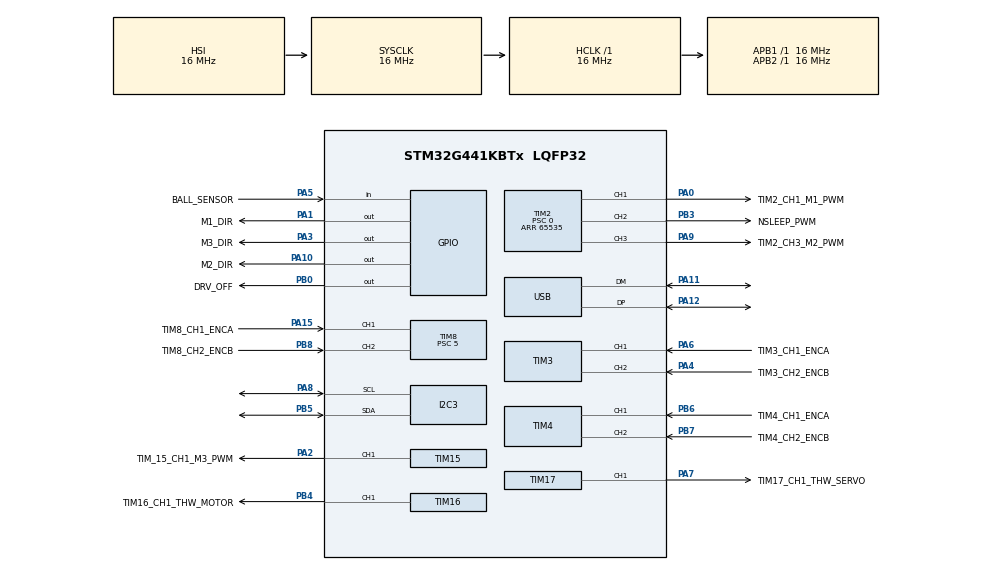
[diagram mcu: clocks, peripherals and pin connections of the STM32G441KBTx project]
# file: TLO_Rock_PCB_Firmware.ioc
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Mcu.Family=STM32G4
Mcu.Name=STM32G441KBTx
Mcu.Package=LQFP32
NVIC.PriorityGroup=NVIC_PRIORITYGROUP_4
NVIC.TIM6_DAC_IRQn=true\:0\:0\:false\:false\:true\:true\:true
NVIC.USB_LP_IRQn=true\:0\:0\:false\:false\:true\:false\:true
PA0.GPIO_Label=TIM2_CH1_M1_PWM
PA0.Signal=S_TIM2_CH1
PA1.GPIO_Label=M1_DIR
PA1.Signal=GPIO_Output
PA10.GPIO_Label=M2_DIR
PA10.Signal=GPIO_Output
PA11.Mode=Device
PA11.Signal=USB_DM
PA12.Mode=Device
PA12.Signal=USB_DP
PA13.Mode=Serial_Wire
PA13.Signal=SYS_JTMS-SWDIO
PA14.Mode=Serial_Wire
PA14.Signal=SYS_JTCK-SWCLK
PA15.GPIO_Label=TIM8_CH1_ENCA
PA15.Signal=S_TIM8_CH1
PA2.GPIO_Label=TIM_15_CH1_M3_PWM
PA2.Signal=S_TIM15_CH1
PA3.GPIO_Label=M3_DIR
PA3.Signal=GPIO_Output
PA4.GPIO_Label=TIM3_CH2_ENCB
PA4.Signal=S_TIM3_CH2
PA5.GPIO_Label=BALL_SENSOR
PA5.Signal=GPIO_Input
PA6.GPIO_Label=TIM3_CH1_ENCA
PA6.Signal=S_TIM3_CH1
PA7.GPIO_Label=TIM17_CH1_THW_SERVO
PA7.Signal=S_TIM17_CH1
PA8.Mode=I2C
PA8.Signal=I2C3_SCL
PA9.GPIO_Label=TIM2_CH3_M2_PWM
PA9.Signal=S_TIM2_CH3
PB0.GPIO_Label=DRV_OFF
PB0.Signal=GPIO_Output
PB3.GPIO_Label=NSLEEP_PWM
PB3.Signal=S_TIM2_CH2
PB4.GPIO_Label=TIM16_CH1_THW_MOTOR
PB4.Signal=S_TIM16_CH1
PB5.Mode=I2C
PB5.Signal=I2C3_SDA
PB6.GPIO_Label=TIM4_CH1_ENCA
PB6.Signal=S_TIM4_CH1
PB7.GPIO_Label=TIM4_CH2_ENCB
PB7.Signal=S_TIM4_CH2
PB8-BOOT0.GPIO_Label=TIM8_CH2_ENCB
PB8-BOOT0.Signal=S_TIM8_CH2
ProjectManager.HeapSize=0x200
ProjectManager.StackSize=0x400
ProjectManager.TargetToolchain=STM32CubeIDE
RCC.ADC12Freq_Value=16000000
RCC.AHBFreq_Value=16000000
RCC.APB1Freq_Value=16000000
RCC.APB1TimFreq_Value=16000000
RCC.APB2Freq_Value=16000000
RCC.APB2TimFreq_Value=16000000
RCC.CortexFreq_Value=16000000
RCC.EXTERNAL_CLOCK_VALUE=12288000
RCC.HCLKFreq_Value=16000000
RCC.HSE_VALUE=8000000
RCC.HSI48_VALUE=48000000
RCC.HSI_VALUE=16000000
RCC.LSE_VALUE=32768
RCC.PLLN=12
RCC.PLLQ=RCC_PLLQ_DIV4
RCC.SYSCLKFreq_VALUE=16000000
RCC.USBFreq_Value=48000000
RCC.VCOOutputFreq_Value=192000000
SH.S_TIM15_CH1.0=TIM15_CH1,PWM Generation1 CH1
SH.S_TIM16_CH1.0=TIM16_CH1,PWM Generation1 CH1
SH.S_TIM17_CH1.0=TIM17_CH1,PWM Generation1 CH1
SH.S_TIM2_CH1.0=TIM2_CH1,PWM Generation1 CH1
SH.S_TIM2_CH2.0=TIM2_CH2,PWM Generation2 CH2
SH.S_TIM2_CH3.0=TIM2_CH3,PWM Generation3 CH3
SH.S_TIM3_CH1.0=TIM3_CH1,Encoder_Interface
SH.S_TIM3_CH2.0=TIM3_CH2,Encoder_Interface
SH.S_TIM4_CH1.0=TIM4_CH1,Encoder_Interface
SH.S_TIM4_CH2.0=TIM4_CH2,Encoder_Interface
SH.S_TIM8_CH1.0=TIM8_CH1,Encoder_Interface
SH.S_TIM8_CH2.0=TIM8_CH2,Encoder_Interface
TIM1.Channel-PWM\ Generation5\ No\ Output=TIM_CHANNEL_5
TIM15.Channel-PWM\ Generation1\ CH1=TIM_CHANNEL_1
TIM15.PulseNoDither_1=31250
TIM16.Channel=TIM_CHANNEL_1
TIM16.PeriodNoDither=64000
TIM16.Prescaler=4
TIM16.PulseNoDither_1=1
TIM17.Channel=TIM_CHANNEL_1
TIM17.PeriodNoDither=64000
TIM17.Prescaler=4
TIM2.Channel-PWM\ Generation1\ CH1=TIM_CHANNEL_1
TIM2.Channel-PWM\ Generation2\ CH2=TIM_CHANNEL_2
TIM2.Channel-PWM\ Generation3\ CH3=TIM_CHANNEL_3
TIM2.PeriodNoDither=65535
TIM2.Prescaler=0
TIM2.PulseNoDither_1=31250
TIM2.PulseNoDither_2=31250
TIM2.PulseNoDither_3=31250
TIM6.PeriodNoDither=40000
TIM6.Prescaler=4
TIM8.PeriodNoDither=64000
TIM8.Prescaler=5
USB.Sof_enable=DISABLE
USB_DEVICE.CLASS_NAME_FS=CDC
USB_DEVICE.VirtualMode=Cdc
USB_DEVICE.VirtualModeFS=Cdc_FS
VP_SYS_VS_DBSignals.Mode=DisableDeadBatterySignals
VP_TIM15_VS_ClockSourceINT.Mode=Internal
VP_TIM16_VS_ClockSourceINT.Mode=Enable_Timer
VP_TIM17_VS_ClockSourceINT.Mode=Enable_Timer
VP_TIM1_VS_no_output5.Mode=PWM Generation5 No Output
VP_TIM2_VS_ClockSourceINT.Mode=Internal
VP_TIM6_VS_ClockSourceINT.Mode=Enable_Timer
VP_USB_DEVICE_VS_USB_DEVICE_CDC_FS.Mode=CDC_FS
board=custom

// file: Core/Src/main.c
/* USER CODE BEGIN Header */
/**
  ******************************************************************************
  * @file           : main.c
  * @brief          : Main program body
  ******************************************************************************
  * @attention
  *
  * Copyright (c) 2022 STMicroelectronics.
  * All rights reserved.
  *
  * This software is licensed under terms that can be found in the LICENSE file
  * in the root directory of this software component.
  * If no LICENSE file comes with this software, it is provided AS-IS.
  *
  ******************************************************************************
  */
/* USER CODE END Header */
#include "main.h"
#include "usb_device.h"
#include "usbd_cdc_if.h"

I2C_HandleTypeDef hi2c3;

TIM_HandleTypeDef htim1;
TIM_HandleTypeDef htim2;
TIM_HandleTypeDef htim3;
TIM_HandleTypeDef htim4;
TIM_HandleTypeDef htim6;
TIM_HandleTypeDef htim8;
TIM_HandleTypeDef htim15;
TIM_HandleTypeDef htim16;
TIM_HandleTypeDef htim17;

/* USER CODE BEGIN PV */
int32_t Lpos_M1 = 0;
int32_t Lpos_M2 = 0;
int32_t Lpos_M3 = 0;

int32_t tgt_M1 = 0;
int32_t tgt_M2 = 0;
int32_t tgt_M3 = 0;

int32_t integral_M1 = 0;
int32_t integral_M2 = 0;
int32_t integral_M3 = 0;

int32_t last_err_M1 = 0;
int32_t last_err_M2 = 0;
int32_t last_err_M3 = 0;

uint32_t thrower_speed = 0;
uint8_t grabber_on = 0;
uint8_t thrower = 0;
uint8_t safety_iters = 0;

int16_t return_M1 = 0;
int16_t return_M2 = 0;
int16_t return_M3 = 0;

/* USER CODE END PV */

void SystemClock_Config(void);
static void MX_GPIO_Init(void);
static void MX_I2C3_Init(void);
static void MX_TIM2_Init(void);
static void MX_TIM3_Init(void);
static void MX_TIM4_Init(void);
static void MX_TIM8_Init(void);
static void MX_TIM15_Init(void);
static void MX_TIM16_Init(void);
static void MX_TIM17_Init(void);
static void MX_TIM1_Init(void);
static void MX_TIM6_Init(void);

/* USER CODE BEGIN 0 */

typedef struct Command {
	int16_t speed1;
	int16_t speed2;
	int16_t speed3;
	uint32_t thrower_speed;
	uint8_t bools;
	uint32_t delimiter;
}Command;

typedef struct Feedback {
	int16_t speed1;
	int16_t speed2;
	int16_t speed3;
	uint8_t bools;
	uint32_t deliminer;
}Feedback;

Command command = {.speed1 = 0, .speed2 = 0, .speed3 = 0, .thrower_speed = 0, .bools = 0, .delimiter = 0xAAAA};
Feedback feedback = {.speed1 = 0, .speed2 = 0, .speed3 = 0, .bools = 0, .deliminer = 0xAAAA};

volatile uint8_t isCommandReceived = 0;

void CDC_On_Receive(uint8_t* buffer, uint32_t* length) //uint8_t* Buf, uint32_t* Len
{
	if (*length == sizeof(Command)){
		memcpy(&command, buffer, sizeof(Command));
	}
	if (command.delimiter == 0xAAAA){
		isCommandReceived = 1;
	}

	//feedback.speed1 = return_M1;
			  //feedback.speed2 = return_M2;
			  //feedback.speed3 = return_M3;
			  //feedback.bools = n;
			  //feedback.deliminer = 0xAAAA;

	CDC_Transmit_FS(&feedback, sizeof(feedback)); //uint8_t CDC_Transmit_FS(uint8_t* Buf, uint16_t Len)
}

void throw(uint32_t speed)
{
	if (speed > 7500) speed = 7500;
	if (speed < 2500) speed = 2500;
	TIM16->CCR1 = speed;
	HAL_Delay(400);
	TIM17->CCR1 = 1000;
	int n = 1;
	while (n)
	{
		n = HAL_GPIO_ReadPin(BALL_SENSOR_GPIO_Port, BALL_SENSOR_Pin);
		HAL_Delay(200);
	}
	TIM17->CCR1 = 0;
	TIM16->CCR1 = 2500;
}

/* USER CODE END 0 */

int main(void)
{

  /* MCU Configuration--------------------------------------------------------*/

  /* Reset of all peripherals, Initializes the Flash interface and the Systick. */
  HAL_Init();

  /* Configure the system clock */
  SystemClock_Config();

  /* Initialize all configured peripherals */
  MX_GPIO_Init();
  MX_I2C3_Init();
  MX_TIM2_Init();
  MX_TIM3_Init();
  MX_TIM4_Init();
  MX_TIM8_Init();
  MX_TIM15_Init();
  MX_TIM16_Init();
  MX_TIM17_Init();
  MX_TIM1_Init();
  MX_TIM6_Init();
  MX_USB_Device_Init();
  /* USER CODE BEGIN 2 */
  // set motors off
  HAL_GPIO_WritePin(DRV_OFF_GPIO_Port, DRV_OFF_Pin, 1);

  // toggle nsleep for aprox 27us
  TIM2->CCR2 = 65100;
  HAL_TIM_PWM_Start(&htim2, TIM_CHANNEL_2);
  // set nsleep to high
  HAL_Delay(100);
  TIM2->CCR2 = 65536;

  //motor speeds to zero
  TIM2->CCR1 = 0;
  TIM15->CCR1 = 0;
  TIM2->CCR3 = 0;

  //begin motor pwm
  HAL_TIM_PWM_Start(&htim2, TIM_CHANNEL_1);
  HAL_TIM_PWM_Start(&htim2, TIM_CHANNEL_3);
  HAL_TIM_PWM_Start(&htim15, TIM_CHANNEL_1);

  //enable thrower and arm it while setting its speed to 0
  HAL_TIM_PWM_Start(&htim16, TIM_CHANNEL_1);
  TIM16->CCR1 = 2500;
  HAL_Delay(4000);

  //enable grabber and set its speed to zero
  TIM17->CCR1 = 0;
  HAL_TIM_PWM_Start(&htim17, TIM_CHANNEL_1);

  //start encoders
  HAL_TIM_Encoder_Start(&htim3, TIM_CHANNEL_1 | TIM_CHANNEL_2);
  HAL_TIM_Encoder_Start(&htim4, TIM_CHANNEL_1 | TIM_CHANNEL_2);
  HAL_TIM_Encoder_Start(&htim8, TIM_CHANNEL_1 | TIM_CHANNEL_2);

  HAL_TIM_Base_Start_IT(&htim6);

/*

  // thrower
  HAL_TIM_PWM_Start(&htim17, TIM_CHANNEL_1);

  HAL_GPIO_TogglePin(DRV_OFF_GPIO_Port, DRV_OFF_Pin);
  HAL_Delay(10);
  //HAL_GPIO_TogglePin(DRV_OFF_GPIO_Port, DRV_OFF_Pin);
  HAL_Delay(10);
  HAL_GPIO_TogglePin(M1_DIR_GPIO_Port, M2_DIR_Pin);

  HAL_TIM_Encoder_Start(&htim3, TIM_CHANNEL_1 | TIM_CHANNEL_2);
  HAL_TIM_Encoder_Start(&htim4, TIM_CHANNEL_1 | TIM_CHANNEL_2);
  HAL_TIM_Encoder_Start(&htim8, TIM_CHANNEL_1 | TIM_CHANNEL_2);

  TIM17->CCR1 = 0; // set grabber to stop
  //TIM16->CCR1 = 4000; // set thrower to stop (4000)
  HAL_Delay(2000);
  */
  /* USER CODE END 2 */

  /* Infinite loop */
  /* USER CODE BEGIN WHILE */

  while (1)
  {

	  uint8_t n = HAL_GPIO_ReadPin(BALL_SENSOR_GPIO_Port, BALL_SENSOR_Pin);

	  if (isCommandReceived){
		  tgt_M1 = command.speed1;
		  tgt_M2 = command.speed2;
		  tgt_M3 = command.speed3;
		  thrower_speed = command.thrower_speed;
		  uint8_t bools = command.bools;

		  if (bools >= 2)
		  {
		  	  bools -= 2;
		  	  grabber_on = 1;
		  }

		  else
		  {
			  grabber_on = 0;
		  }

		  if (bools >= 1)
		  {
			  bools -= 1;
			  thrower = 1;
		  }

		  HAL_GPIO_WritePin(DRV_OFF_GPIO_Port, DRV_OFF_Pin, 0);

	  }

	  if (grabber_on){

		  if (n) TIM17->CCR1 = 0;
		  else TIM17->CCR1 = 1000;

	  }

	  else TIM17->CCR1 = 0;

	  if(thrower && n){
		  throw(thrower_speed);
	  }
	  else thrower = 0;

	  if (safety_iters > 100){
		  HAL_GPIO_WritePin(DRV_OFF_GPIO_Port, DRV_OFF_Pin, 1);
		  tgt_M1 = 0;
		  tgt_M2 = 0;
		  tgt_M3 = 0;
	  }

  }
    /* USER CODE END WHILE */

}

void SystemClock_Config(void)
{
  RCC_OscInitTypeDef RCC_OscInitStruct = {0};
  RCC_ClkInitTypeDef RCC_ClkInitStruct = {0};

  /** Configure the main internal regulator output voltage
  */
  HAL_PWREx_ControlVoltageScaling(PWR_REGULATOR_VOLTAGE_SCALE1);
  /** Initializes the RCC Oscillators according to the specified parameters
  * in the RCC_OscInitTypeDef structure.
  */
  RCC_OscInitStruct.OscillatorType = RCC_OSCILLATORTYPE_HSI;
  RCC_OscInitStruct.HSIState = RCC_HSI_ON;
  RCC_OscInitStruct.HSICalibrationValue = RCC_HSICALIBRATION_DEFAULT;
  RCC_OscInitStruct.PLL.PLLState = RCC_PLL_ON;
  RCC_OscInitStruct.PLL.PLLSource = RCC_PLLSOURCE_HSI;
  RCC_OscInitStruct.PLL.PLLM = RCC_PLLM_DIV1;
  RCC_OscInitStruct.PLL.PLLN = 12;
  RCC_OscInitStruct.PLL.PLLP = RCC_PLLP_DIV2;
  RCC_OscInitStruct.PLL.PLLQ = RCC_PLLQ_DIV4;
  RCC_OscInitStruct.PLL.PLLR = RCC_PLLR_DIV2;
  if (HAL_RCC_OscConfig(&RCC_OscInitStruct) != HAL_OK)
  {
    Error_Handler();
  }
  /** Initializes the CPU, AHB and APB buses clocks
  */
  RCC_ClkInitStruct.ClockType = RCC_CLOCKTYPE_HCLK|RCC_CLOCKTYPE_SYSCLK
                              |RCC_CLOCKTYPE_PCLK1|RCC_CLOCKTYPE_PCLK2;
  RCC_ClkInitStruct.SYSCLKSource = RCC_SYSCLKSOURCE_HSI;
  RCC_ClkInitStruct.AHBCLKDivider = RCC_SYSCLK_DIV1;
  RCC_ClkInitStruct.APB1CLKDivider = RCC_HCLK_DIV1;
  RCC_ClkInitStruct.APB2CLKDivider = RCC_HCLK_DIV1;

  if (HAL_RCC_ClockConfig(&RCC_ClkInitStruct, FLASH_LATENCY_0) != HAL_OK)
  {
    Error_Handler();
  }
}

static void MX_I2C3_Init(void)
{

  hi2c3.Instance = I2C3;
  hi2c3.Init.Timing = 0x00303D5B;
  hi2c3.Init.OwnAddress1 = 0;
  hi2c3.Init.AddressingMode = I2C_ADDRESSINGMODE_7BIT;
  hi2c3.Init.DualAddressMode = I2C_DUALADDRESS_DISABLE;
  hi2c3.Init.OwnAddress2 = 0;
  hi2c3.Init.OwnAddress2Masks = I2C_OA2_NOMASK;
  hi2c3.Init.GeneralCallMode = I2C_GENERALCALL_DISABLE;
  hi2c3.Init.NoStretchMode = I2C_NOSTRETCH_DISABLE;
  if (HAL_I2C_Init(&hi2c3) != HAL_OK)
  {
    Error_Handler();
  }
  /** Configure Analogue filter
  */
  if (HAL_I2CEx_ConfigAnalogFilter(&hi2c3, I2C_ANALOGFILTER_ENABLE) != HAL_OK)
  {
    Error_Handler();
  }
  /** Configure Digital filter
  */
  if (HAL_I2CEx_ConfigDigitalFilter(&hi2c3, 0) != HAL_OK)
  {
    Error_Handler();
  }

}

static void MX_TIM1_Init(void)
{

  TIM_MasterConfigTypeDef sMasterConfig = {0};
  TIM_OC_InitTypeDef sConfigOC = {0};
  TIM_BreakDeadTimeConfigTypeDef sBreakDeadTimeConfig = {0};

  htim1.Instance = TIM1;
  htim1.Init.Prescaler = 0;
  htim1.Init.CounterMode = TIM_COUNTERMODE_UP;
  htim1.Init.Period = 65535;
  htim1.Init.ClockDivision = TIM_CLOCKDIVISION_DIV1;
  htim1.Init.RepetitionCounter = 0;
  htim1.Init.AutoReloadPreload = TIM_AUTORELOAD_PRELOAD_DISABLE;
  if (HAL_TIM_PWM_Init(&htim1) != HAL_OK)
  {
    Error_Handler();
  }
  sMasterConfig.MasterOutputTrigger = TIM_TRGO_RESET;
  sMasterConfig.MasterOutputTrigger2 = TIM_TRGO2_RESET;
  sMasterConfig.MasterSlaveMode = TIM_MASTERSLAVEMODE_DISABLE;
  if (HAL_TIMEx_MasterConfigSynchronization(&htim1, &sMasterConfig) != HAL_OK)
  {
    Error_Handler();
  }
  sConfigOC.OCMode = TIM_OCMODE_PWM1;
  sConfigOC.Pulse = 0;
  sConfigOC.OCPolarity = TIM_OCPOLARITY_HIGH;
  sConfigOC.OCFastMode = TIM_OCFAST_DISABLE;
  sConfigOC.OCIdleState = TIM_OCIDLESTATE_RESET;
  if (HAL_TIM_PWM_ConfigChannel(&htim1, &sConfigOC, TIM_CHANNEL_5) != HAL_OK)
  {
    Error_Handler();
  }
  sBreakDeadTimeConfig.OffStateRunMode = TIM_OSSR_DISABLE;
  sBreakDeadTimeConfig.OffStateIDLEMode = TIM_OSSI_DISABLE;
  sBreakDeadTimeConfig.LockLevel = TIM_LOCKLEVEL_OFF;
  sBreakDeadTimeConfig.DeadTime = 0;
  sBreakDeadTimeConfig.BreakState = TIM_BREAK_DISABLE;
  sBreakDeadTimeConfig.BreakPolarity = TIM_BREAKPOLARITY_HIGH;
  sBreakDeadTimeConfig.BreakFilter = 0;
  sBreakDeadTimeConfig.BreakAFMode = TIM_BREAK_AFMODE_INPUT;
  sBreakDeadTimeConfig.Break2State = TIM_BREAK2_DISABLE;
  sBreakDeadTimeConfig.Break2Polarity = TIM_BREAK2POLARITY_HIGH;
  sBreakDeadTimeConfig.Break2Filter = 0;
  sBreakDeadTimeConfig.Break2AFMode = TIM_BREAK_AFMODE_INPUT;
  sBreakDeadTimeConfig.AutomaticOutput = TIM_AUTOMATICOUTPUT_DISABLE;
  if (HAL_TIMEx_ConfigBreakDeadTime(&htim1, &sBreakDeadTimeConfig) != HAL_OK)
  {
    Error_Handler();
  }

}

static void MX_TIM2_Init(void)
{

  TIM_ClockConfigTypeDef sClockSourceConfig = {0};
  TIM_MasterConfigTypeDef sMasterConfig = {0};
  TIM_OC_InitTypeDef sConfigOC = {0};

  htim2.Instance = TIM2;
  htim2.Init.Prescaler = 0;
  htim2.Init.CounterMode = TIM_COUNTERMODE_UP;
  htim2.Init.Period = 65535;
  htim2.Init.ClockDivision = TIM_CLOCKDIVISION_DIV1;
  htim2.Init.AutoReloadPreload = TIM_AUTORELOAD_PRELOAD_DISABLE;
  if (HAL_TIM_Base_Init(&htim2) != HAL_OK)
  {
    Error_Handler();
  }
  sClockSourceConfig.ClockSource = TIM_CLOCKSOURCE_INTERNAL;
  if (HAL_TIM_ConfigClockSource(&htim2, &sClockSourceConfig) != HAL_OK)
  {
    Error_Handler();
  }
  if (HAL_TIM_PWM_Init(&htim2) != HAL_OK)
  {
    Error_Handler();
  }
  sMasterConfig.MasterOutputTrigger = TIM_TRGO_RESET;
  sMasterConfig.MasterSlaveMode = TIM_MASTERSLAVEMODE_DISABLE;
  if (HAL_TIMEx_MasterConfigSynchronization(&htim2, &sMasterConfig) != HAL_OK)
  {
    Error_Handler();
  }
  sConfigOC.OCMode = TIM_OCMODE_PWM1;
  sConfigOC.Pulse = 31250;
  sConfigOC.OCPolarity = TIM_OCPOLARITY_HIGH;
  sConfigOC.OCFastMode = TIM_OCFAST_DISABLE;
  if (HAL_TIM_PWM_ConfigChannel(&htim2, &sConfigOC, TIM_CHANNEL_1) != HAL_OK)
  {
    Error_Handler();
  }
  if (HAL_TIM_PWM_ConfigChannel(&htim2, &sConfigOC, TIM_CHANNEL_2) != HAL_OK)
  {
    Error_Handler();
  }
  if (HAL_TIM_PWM_ConfigChannel(&htim2, &sConfigOC, TIM_CHANNEL_3) != HAL_OK)
  {
    Error_Handler();
  }
  HAL_TIM_MspPostInit(&htim2);

}

static void MX_TIM3_Init(void)
{

  TIM_Encoder_InitTypeDef sConfig = {0};
  TIM_MasterConfigTypeDef sMasterConfig = {0};

  htim3.Instance = TIM3;
  htim3.Init.Prescaler = 0;
  htim3.Init.CounterMode = TIM_COUNTERMODE_UP;
  htim3.Init.Period = 65535;
  htim3.Init.ClockDivision = TIM_CLOCKDIVISION_DIV1;
  htim3.Init.AutoReloadPreload = TIM_AUTORELOAD_PRELOAD_DISABLE;
  sConfig.EncoderMode = TIM_ENCODERMODE_TI1;
  sConfig.IC1Polarity = TIM_ICPOLARITY_RISING;
  sConfig.IC1Selection = TIM_ICSELECTION_DIRECTTI;
  sConfig.IC1Prescaler = TIM_ICPSC_DIV1;
  sConfig.IC1Filter = 0;
  sConfig.IC2Polarity = TIM_ICPOLARITY_RISING;
  sConfig.IC2Selection = TIM_ICSELECTION_DIRECTTI;
  sConfig.IC2Prescaler = TIM_ICPSC_DIV1;
  sConfig.IC2Filter = 0;
  if (HAL_TIM_Encoder_Init(&htim3, &sConfig) != HAL_OK)
  {
    Error_Handler();
  }
  sMasterConfig.MasterOutputTrigger = TIM_TRGO_RESET;
  sMasterConfig.MasterSlaveMode = TIM_MASTERSLAVEMODE_DISABLE;
  if (HAL_TIMEx_MasterConfigSynchronization(&htim3, &sMasterConfig) != HAL_OK)
  {
    Error_Handler();
  }

}

static void MX_TIM4_Init(void)
{

  TIM_Encoder_InitTypeDef sConfig = {0};
  TIM_MasterConfigTypeDef sMasterConfig = {0};

  htim4.Instance = TIM4;
  htim4.Init.Prescaler = 0;
  htim4.Init.CounterMode = TIM_COUNTERMODE_UP;
  htim4.Init.Period = 65535;
  htim4.Init.ClockDivision = TIM_CLOCKDIVISION_DIV1;
  htim4.Init.AutoReloadPreload = TIM_AUTORELOAD_PRELOAD_DISABLE;
  sConfig.EncoderMode = TIM_ENCODERMODE_TI1;
  sConfig.IC1Polarity = TIM_ICPOLARITY_RISING;
  sConfig.IC1Selection = TIM_ICSELECTION_DIRECTTI;
  sConfig.IC1Prescaler = TIM_ICPSC_DIV1;
  sConfig.IC1Filter = 0;
  sConfig.IC2Polarity = TIM_ICPOLARITY_RISING;
  sConfig.IC2Selection = TIM_ICSELECTION_DIRECTTI;
  sConfig.IC2Prescaler = TIM_ICPSC_DIV1;
  sConfig.IC2Filter = 0;
  if (HAL_TIM_Encoder_Init(&htim4, &sConfig) != HAL_OK)
  {
    Error_Handler();
  }
  sMasterConfig.MasterOutputTrigger = TIM_TRGO_RESET;
  sMasterConfig.MasterSlaveMode = TIM_MASTERSLAVEMODE_DISABLE;
  if (HAL_TIMEx_MasterConfigSynchronization(&htim4, &sMasterConfig) != HAL_OK)
  {
    Error_Handler();
  }

}

static void MX_TIM6_Init(void)
{

  TIM_MasterConfigTypeDef sMasterConfig = {0};

  htim6.Instance = TIM6;
  htim6.Init.Prescaler = 4;
  htim6.Init.CounterMode = TIM_COUNTERMODE_UP;
  htim6.Init.Period = 40000;
  htim6.Init.AutoReloadPreload = TIM_AUTORELOAD_PRELOAD_DISABLE;
  if (HAL_TIM_Base_Init(&htim6) != HAL_OK)
  {
    Error_Handler();
  }
  sMasterConfig.MasterOutputTrigger = TIM_TRGO_RESET;
  sMasterConfig.MasterSlaveMode = TIM_MASTERSLAVEMODE_DISABLE;
  if (HAL_TIMEx_MasterConfigSynchronization(&htim6, &sMasterConfig) != HAL_OK)
  {
    Error_Handler();
  }

}

static void MX_TIM8_Init(void)
{

  TIM_Encoder_InitTypeDef sConfig = {0};
  TIM_MasterConfigTypeDef sMasterConfig = {0};

  htim8.Instance = TIM8;
  htim8.Init.Prescaler = 5;
  htim8.Init.CounterMode = TIM_COUNTERMODE_UP;
  htim8.Init.Period = 64000;
  htim8.Init.ClockDivision = TIM_CLOCKDIVISION_DIV1;
  htim8.Init.RepetitionCounter = 0;
  htim8.Init.AutoReloadPreload = TIM_AUTORELOAD_PRELOAD_DISABLE;
  sConfig.EncoderMode = TIM_ENCODERMODE_TI1;
  sConfig.IC1Polarity = TIM_ICPOLARITY_RISING;
  sConfig.IC1Selection = TIM_ICSELECTION_DIRECTTI;
  sConfig.IC1Prescaler = TIM_ICPSC_DIV1;
  sConfig.IC1Filter = 0;
  sConfig.IC2Polarity = TIM_ICPOLARITY_RISING;
  sConfig.IC2Selection = TIM_ICSELECTION_DIRECTTI;
  sConfig.IC2Prescaler = TIM_ICPSC_DIV1;
  sConfig.IC2Filter = 0;
  if (HAL_TIM_Encoder_Init(&htim8, &sConfig) != HAL_OK)
  {
    Error_Handler();
  }
  sMasterConfig.MasterOutputTrigger = TIM_TRGO_RESET;
  sMasterConfig.MasterOutputTrigger2 = TIM_TRGO2_RESET;
  sMasterConfig.MasterSlaveMode = TIM_MASTERSLAVEMODE_DISABLE;
  if (HAL_TIMEx_MasterConfigSynchronization(&htim8, &sMasterConfig) != HAL_OK)
  {
    Error_Handler();
  }

}

static void MX_TIM15_Init(void)
{

  TIM_ClockConfigTypeDef sClockSourceConfig = {0};
  TIM_MasterConfigTypeDef sMasterConfig = {0};
  TIM_OC_InitTypeDef sConfigOC = {0};
  TIM_BreakDeadTimeConfigTypeDef sBreakDeadTimeConfig = {0};

  htim15.Instance = TIM15;
  htim15.Init.Prescaler = 0;
  htim15.Init.CounterMode = TIM_COUNTERMODE_UP;
  htim15.Init.Period = 65535;
  htim15.Init.ClockDivision = TIM_CLOCKDIVISION_DIV1;
  htim15.Init.RepetitionCounter = 0;
  htim15.Init.AutoReloadPreload = TIM_AUTORELOAD_PRELOAD_DISABLE;
  if (HAL_TIM_Base_Init(&htim15) != HAL_OK)
  {
    Error_Handler();
  }
  sClockSourceConfig.ClockSource = TIM_CLOCKSOURCE_INTERNAL;
  if (HAL_TIM_ConfigClockSource(&htim15, &sClockSourceConfig) != HAL_OK)
  {
    Error_Handler();
  }
  if (HAL_TIM_PWM_Init(&htim15) != HAL_OK)
  {
    Error_Handler();
  }
  sMasterConfig.MasterOutputTrigger = TIM_TRGO_RESET;
  sMasterConfig.MasterSlaveMode = TIM_MASTERSLAVEMODE_DISABLE;
  if (HAL_TIMEx_MasterConfigSynchronization(&htim15, &sMasterConfig) != HAL_OK)
  {
    Error_Handler();
  }
  sConfigOC.OCMode = TIM_OCMODE_PWM1;
  sConfigOC.Pulse = 31250;
  sConfigOC.OCPolarity = TIM_OCPOLARITY_HIGH;
  sConfigOC.OCNPolarity = TIM_OCNPOLARITY_HIGH;
  sConfigOC.OCFastMode = TIM_OCFAST_DISABLE;
  sConfigOC.OCIdleState = TIM_OCIDLESTATE_RESET;
  sConfigOC.OCNIdleState = TIM_OCNIDLESTATE_RESET;
  if (HAL_TIM_PWM_ConfigChannel(&htim15, &sConfigOC, TIM_CHANNEL_1) != HAL_OK)
  {
    Error_Handler();
  }
  sBreakDeadTimeConfig.OffStateRunMode = TIM_OSSR_DISABLE;
  sBreakDeadTimeConfig.OffStateIDLEMode = TIM_OSSI_DISABLE;
  sBreakDeadTimeConfig.LockLevel = TIM_LOCKLEVEL_OFF;
  sBreakDeadTimeConfig.DeadTime = 0;
  sBreakDeadTimeConfig.BreakState = TIM_BREAK_DISABLE;
  sBreakDeadTimeConfig.BreakPolarity = TIM_BREAKPOLARITY_HIGH;
  sBreakDeadTimeConfig.BreakFilter = 0;
  sBreakDeadTimeConfig.AutomaticOutput = TIM_AUTOMATICOUTPUT_DISABLE;
  if (HAL_TIMEx_ConfigBreakDeadTime(&htim15, &sBreakDeadTimeConfig) != HAL_OK)
  {
    Error_Handler();
  }
  HAL_TIM_MspPostInit(&htim15);

}

static void MX_TIM16_Init(void)
{

  TIM_OC_InitTypeDef sConfigOC = {0};
  TIM_BreakDeadTimeConfigTypeDef sBreakDeadTimeConfig = {0};

  htim16.Instance = TIM16;
  htim16.Init.Prescaler = 4;
  htim16.Init.CounterMode = TIM_COUNTERMODE_UP;
  htim16.Init.Period = 64000;
  htim16.Init.ClockDivision = TIM_CLOCKDIVISION_DIV1;
  htim16.Init.RepetitionCounter = 0;
  htim16.Init.AutoReloadPreload = TIM_AUTORELOAD_PRELOAD_DISABLE;
  if (HAL_TIM_Base_Init(&htim16) != HAL_OK)
  {
    Error_Handler();
  }
  if (HAL_TIM_PWM_Init(&htim16) != HAL_OK)
  {
    Error_Handler();
  }
  sConfigOC.OCMode = TIM_OCMODE_PWM1;
  sConfigOC.Pulse = 1;
  sConfigOC.OCPolarity = TIM_OCPOLARITY_HIGH;
  sConfigOC.OCNPolarity = TIM_OCNPOLARITY_HIGH;
  sConfigOC.OCFastMode = TIM_OCFAST_DISABLE;
  sConfigOC.OCIdleState = TIM_OCIDLESTATE_RESET;
  sConfigOC.OCNIdleState = TIM_OCNIDLESTATE_RESET;
  if (HAL_TIM_PWM_ConfigChannel(&htim16, &sConfigOC, TIM_CHANNEL_1) != HAL_OK)
  {
    Error_Handler();
  }
  sBreakDeadTimeConfig.OffStateRunMode = TIM_OSSR_DISABLE;
  sBreakDeadTimeConfig.OffStateIDLEMode = TIM_OSSI_DISABLE;
  sBreakDeadTimeConfig.LockLevel = TIM_LOCKLEVEL_OFF;
  sBreakDeadTimeConfig.DeadTime = 0;
  sBreakDeadTimeConfig.BreakState = TIM_BREAK_DISABLE;
  sBreakDeadTimeConfig.BreakPolarity = TIM_BREAKPOLARITY_HIGH;
  sBreakDeadTimeConfig.BreakFilter = 0;
  sBreakDeadTimeConfig.AutomaticOutput = TIM_AUTOMATICOUTPUT_DISABLE;
  if (HAL_TIMEx_ConfigBreakDeadTime(&htim16, &sBreakDeadTimeConfig) != HAL_OK)
  {
    Error_Handler();
  }
  HAL_TIM_MspPostInit(&htim16);

}

static void MX_TIM17_Init(void)
{

  TIM_OC_InitTypeDef sConfigOC = {0};
  TIM_BreakDeadTimeConfigTypeDef sBreakDeadTimeConfig = {0};

  htim17.Instance = TIM17;
  htim17.Init.Prescaler = 4;
  htim17.Init.CounterMode = TIM_COUNTERMODE_UP;
  htim17.Init.Period = 64000;
  htim17.Init.ClockDivision = TIM_CLOCKDIVISION_DIV1;
  htim17.Init.RepetitionCounter = 0;
  htim17.Init.AutoReloadPreload = TIM_AUTORELOAD_PRELOAD_DISABLE;
  if (HAL_TIM_Base_Init(&htim17) != HAL_OK)
  {
    Error_Handler();
  }
  if (HAL_TIM_PWM_Init(&htim17) != HAL_OK)
  {
    Error_Handler();
  }
  sConfigOC.OCMode = TIM_OCMODE_PWM1;
  sConfigOC.Pulse = 0;
  sConfigOC.OCPolarity = TIM_OCPOLARITY_HIGH;
  sConfigOC.OCNPolarity = TIM_OCNPOLARITY_HIGH;
  sConfigOC.OCFastMode = TIM_OCFAST_DISABLE;
  sConfigOC.OCIdleState = TIM_OCIDLESTATE_RESET;
  sConfigOC.OCNIdleState = TIM_OCNIDLESTATE_RESET;
  if (HAL_TIM_PWM_ConfigChannel(&htim17, &sConfigOC, TIM_CHANNEL_1) != HAL_OK)
  {
    Error_Handler();
  }
  sBreakDeadTimeConfig.OffStateRunMode = TIM_OSSR_DISABLE;
  sBreakDeadTimeConfig.OffStateIDLEMode = TIM_OSSI_DISABLE;
  sBreakDeadTimeConfig.LockLevel = TIM_LOCKLEVEL_OFF;
  sBreakDeadTimeConfig.DeadTime = 0;
  sBreakDeadTimeConfig.BreakState = TIM_BREAK_DISABLE;
  sBreakDeadTimeConfig.BreakPolarity = TIM_BREAKPOLARITY_HIGH;
  sBreakDeadTimeConfig.BreakFilter = 0;
  sBreakDeadTimeConfig.AutomaticOutput = TIM_AUTOMATICOUTPUT_DISABLE;
  if (HAL_TIMEx_ConfigBreakDeadTime(&htim17, &sBreakDeadTimeConfig) != HAL_OK)
  {
    Error_Handler();
  }
  HAL_TIM_MspPostInit(&htim17);

}

static void MX_GPIO_Init(void)
{
  GPIO_InitTypeDef GPIO_InitStruct = {0};

  /* GPIO Ports Clock Enable */
  __HAL_RCC_GPIOA_CLK_ENABLE();
  __HAL_RCC_GPIOB_CLK_ENABLE();

  /*Configure GPIO pin Output Level */
  HAL_GPIO_WritePin(GPIOA, M1_DIR_Pin|M3_DIR_Pin|M2_DIR_Pin, GPIO_PIN_RESET);

  /*Configure GPIO pin Output Level */
  HAL_GPIO_WritePin(DRV_OFF_GPIO_Port, DRV_OFF_Pin, GPIO_PIN_RESET);

  /*Configure GPIO pins : M1_DIR_Pin M3_DIR_Pin M2_DIR_Pin */
  GPIO_InitStruct.Pin = M1_DIR_Pin|M3_DIR_Pin|M2_DIR_Pin;
  GPIO_InitStruct.Mode = GPIO_MODE_OUTPUT_PP;
  GPIO_InitStruct.Pull = GPIO_NOPULL;
  GPIO_InitStruct.Speed = GPIO_SPEED_FREQ_LOW;
  HAL_GPIO_Init(GPIOA, &GPIO_InitStruct);

  /*Configure GPIO pin : BALL_SENSOR_Pin */
  GPIO_InitStruct.Pin = BALL_SENSOR_Pin;
  GPIO_InitStruct.Mode = GPIO_MODE_INPUT;
  GPIO_InitStruct.Pull = GPIO_NOPULL;
  HAL_GPIO_Init(BALL_SENSOR_GPIO_Port, &GPIO_InitStruct);

  /*Configure GPIO pin : DRV_OFF_Pin */
  GPIO_InitStruct.Pin = DRV_OFF_Pin;
  GPIO_InitStruct.Mode = GPIO_MODE_OUTPUT_PP;
  GPIO_InitStruct.Pull = GPIO_NOPULL;
  GPIO_InitStruct.Speed = GPIO_SPEED_FREQ_LOW;
  HAL_GPIO_Init(DRV_OFF_GPIO_Port, &GPIO_InitStruct);

}

/* USER CODE BEGIN 4 */

void HAL_TIM_PeriodElapsedCallback(TIM_HandleTypeDef *htim)
{
	int32_t Cpos_M1 = (int16_t)TIM3->CNT;
	return_M1 += Cpos_M1;
	int32_t dif_M1 = Cpos_M1 - Lpos_M1;
	Lpos_M1 = Cpos_M1;

	int32_t Cpos_M2 = (int16_t)TIM4->CNT;
	return_M2 += Cpos_M2;
	int32_t dif_M2 = Cpos_M2 - Lpos_M2;
	Lpos_M2 = Cpos_M2;

	int32_t Cpos_M3 = (int16_t)TIM8->CNT;
	return_M3 += Cpos_M3;
	int32_t dif_M3 = Cpos_M3 - Lpos_M3;
	Lpos_M3 = Cpos_M3;

	int32_t Err1 = tgt_M1 - dif_M1;
	int32_t Err2 = tgt_M2 - dif_M2;
	int32_t Err3 = tgt_M3 - dif_M3;

	int32_t pk = 0;
	int32_t pi = 0;
	int32_t pd = 0;

	integral_M1 += Err1;
	integral_M2 += Err2;
	integral_M3 += Err3;

	int32_t derivative_M1 = (Err1 - last_err_M1);
	int32_t derivative_M2 = (Err2 - last_err_M2);
	int32_t derivative_M3 = (Err3 - last_err_M3);

	last_err_M1 = Err1;
	last_err_M2 = Err2;
	last_err_M3 = Err3;

	int32_t Speed_M1 = (int32_t) Err1 * pk + integral_M1 * pi + derivative_M1 * pd;
	int32_t Speed_M2 = (int32_t) Err2 * pk + integral_M2 * pi + derivative_M2 * pd;
	int32_t Speed_M3 = (int32_t) Err3 * pk + integral_M3 * pi + derivative_M3 * pd;

	if (Speed_M1 >= 0) HAL_GPIO_WritePin(M1_DIR_GPIO_Port, M1_DIR_Pin, 0);
	else HAL_GPIO_WritePin(M1_DIR_GPIO_Port, M1_DIR_Pin, 1);

	if (Speed_M2 >= 0) HAL_GPIO_WritePin(M1_DIR_GPIO_Port, M2_DIR_Pin, 0);
	else HAL_GPIO_WritePin(M2_DIR_GPIO_Port, M2_DIR_Pin, 1);

	if (Speed_M3 >= 0) HAL_GPIO_WritePin(M1_DIR_GPIO_Port, M3_DIR_Pin, 0);
	else HAL_GPIO_WritePin(M3_DIR_GPIO_Port, M3_DIR_Pin, 1);

	TIM2->CCR1 = abs(Speed_M1);
	TIM15->CCR1 = abs(Speed_M2);
	TIM2->CCR3 = abs(Speed_M3);

	safety_iters++;
}

/* USER CODE END 4 */

void Error_Handler(void)
{
  __disable_irq();
  while (1)
  {
  }
}
